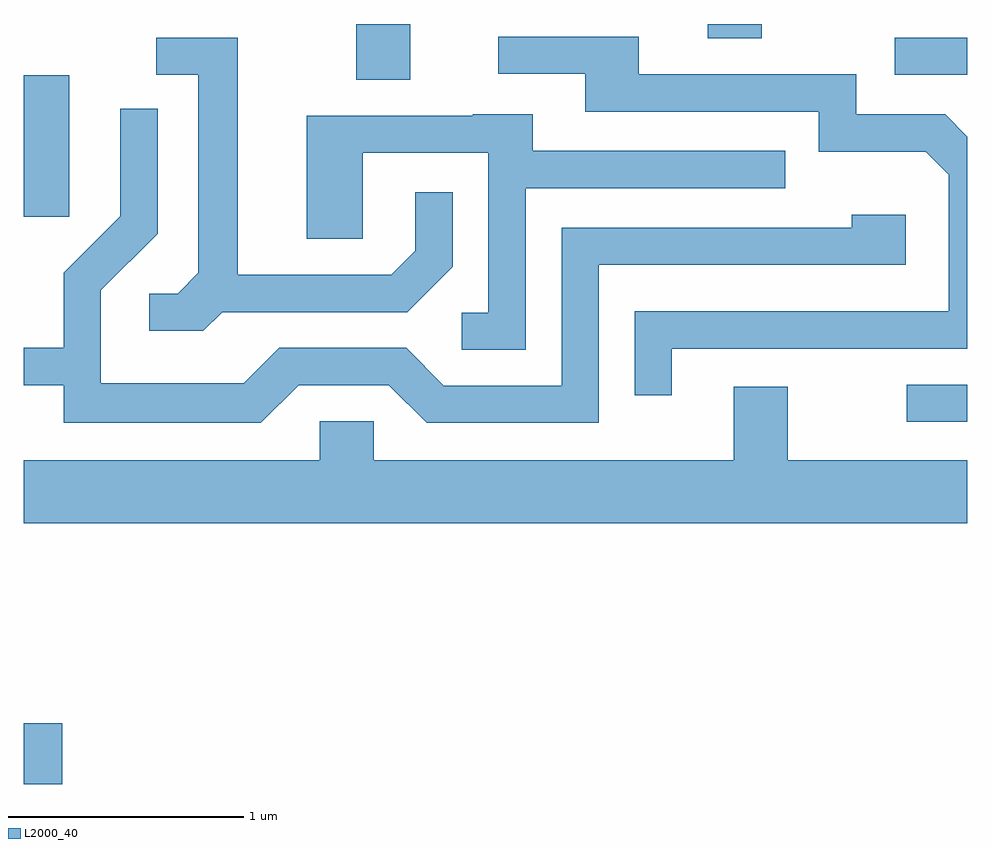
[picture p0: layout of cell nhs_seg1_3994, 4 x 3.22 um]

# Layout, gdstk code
import gdstk
lib = gdstk.Library(unit=1e-6, precision=1e-09)
def R(c, l, rs):  # rectangles x0, y0, x1, y1
    for r in rs: c.add(gdstk.rectangle(r[:2], r[2:], *l))
def P(c, l, *ps):  # polygons
    for p in ps: c.add(gdstk.Polygon(p, *l))
L2000_40 = (2000, 40)

nhs_seg1_3994 = lib.new_cell('nhs_seg1_3994')
R(nhs_seg1_3994, L2000_40, [(305.611,878.491,305.774,878.749), (309.353,880.026,309.611,880.184), (305.611,880.896,305.804,881.494), (307.021,881.476,307.249,881.712), (309.303,881.496,309.611,881.654), (308.511,881.651,308.739,881.712)])
P(nhs_seg1_3994, L2000_40, [(308.359,880.336),(309.611,880.336),(309.611,881.235),(309.517,881.329),(309.139,881.329),(309.139,881.499),(308.219,881.499),(308.219,881.659),(307.623,881.659),(307.623,881.501),(307.991,881.501),(307.991,881.341),(308.981,881.341),(308.981,881.171),(309.434,881.171),(309.531,881.074),(309.531,880.494),(308.201,880.494),(308.201,880.138),(308.359,880.138)],
  [(306.452,880.491),(307.237,880.491),(307.429,880.684),(307.429,880.998),(307.271,880.998),(307.271,880.752),(307.169,880.649),(306.519,880.649),(306.519,881.654),(306.173,881.654),(306.173,881.496),(306.351,881.496),(306.351,880.657),(306.264,880.569),(306.143,880.569),(306.143,880.411),(306.372,880.411)],
  [(306.777,880.181),(307.159,880.181),(307.319,880.021),(308.049,880.021),(308.049,880.691),(309.349,880.691),(309.349,880.904),(309.121,880.904),(309.121,880.849),(307.891,880.849),(307.891,880.179),(307.392,880.179),(307.232,880.339),(306.694,880.339),(306.544,880.189),(305.939,880.189),(305.939,880.584),(306.179,880.824),(306.179,881.353),(306.021,881.353),(306.021,880.897),(305.781,880.657),(305.781,880.339),(305.611,880.339),(305.611,880.181),(305.781,880.181),(305.781,880.021),(306.617,880.021)],
  [(307.739,881.016),(308.838,881.016),(308.838,881.174),(307.769,881.174),(307.769,881.329),(307.515,881.329),(307.515,881.324),(306.811,881.324),(306.811,880.801),(307.049,880.801),(307.049,881.166),(307.581,881.166),(307.581,880.489),(307.468,880.489),(307.468,880.331),(307.739,880.331)],
  [(309.611,879.864),(308.849,879.864),(308.849,880.174),(308.621,880.174),(308.621,879.864),(307.094,879.864),(307.094,880.029),(306.866,880.029),(306.866,879.864),(305.611,879.864),(305.611,879.596),(309.611,879.596)])

lib.write_gds('nhs_seg1_3994.gds')
